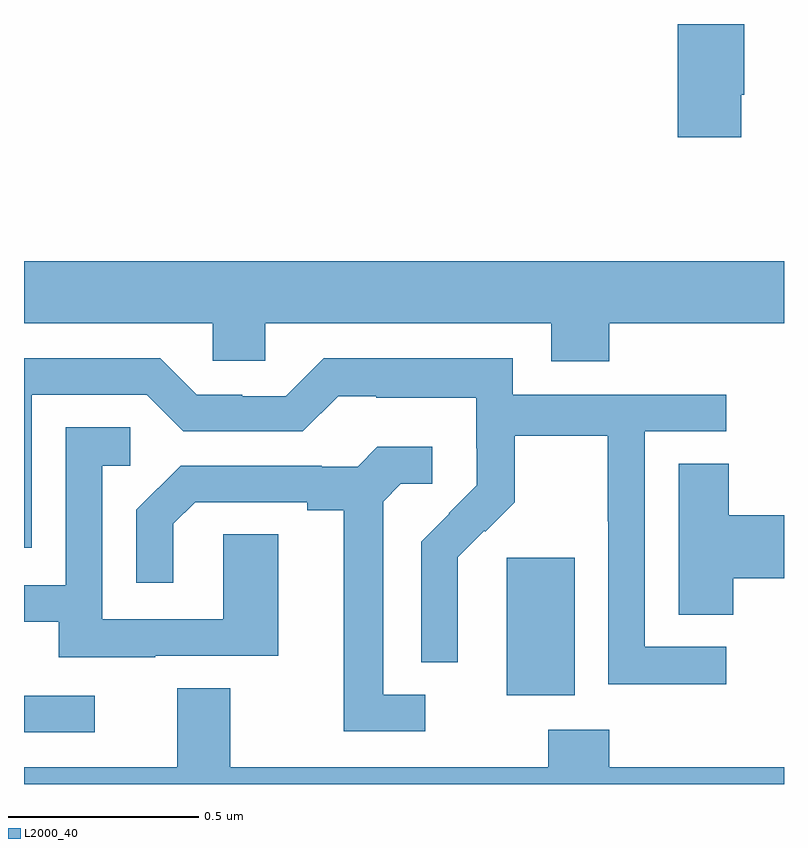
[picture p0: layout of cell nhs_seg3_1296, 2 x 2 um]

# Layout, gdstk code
import gdstk
lib = gdstk.Library(unit=1e-6, precision=1e-09)
def R(c, l, rs):  # rectangles x0, y0, x1, y1
    for r in rs: c.add(gdstk.rectangle(r[:2], r[2:], *l))
def P(c, l, *ps):  # polygons
    for p in ps: c.add(gdstk.Polygon(p, *l))
L2000_40 = (2000, 40)

nhs_seg3_1296 = lib.new_cell('nhs_seg3_1296')
R(nhs_seg3_1296, L2000_40, [(127,670.536,127.186,670.632), (128.27,670.634,128.449,670.995)])
P(nhs_seg3_1296, L2000_40, [(128.887,672.214),(128.895,672.214),(128.895,672.4),(128.72,672.4),(128.72,672.102),(128.887,672.102)],
  [(128.54,671.612),(129,671.612),(129,671.776),(127,671.776),(127,671.612),(127.497,671.612),(127.497,671.514),(127.635,671.514),(127.635,671.612),(128.387,671.612),(128.387,671.513),(128.54,671.513)],
  [(128.848,670.761),(128.634,670.761),(128.634,671.328),(128.848,671.328),(128.848,671.424),(128.286,671.424),(128.286,671.521),(127.789,671.521),(127.689,671.421),(127.574,671.421),(127.574,671.424),(127.455,671.424),(127.359,671.52),(127,671.52),(127,671.022),(127.02,671.022),(127.02,671.424),(127.323,671.424),(127.419,671.328),(127.734,671.328),(127.827,671.421),(127.927,671.421),(127.927,671.417),(128.19,671.417),(128.19,671.283),(128.192,671.283),(128.192,671.186),(128.118,671.112),(128.119,671.111),(128.046,671.038),(128.046,670.72),(128.142,670.72),(128.142,670.874),(128.141,670.874),(128.141,670.997),(128.211,671.067),(128.214,671.064),(128.291,671.141),(128.291,671.316),(128.536,671.316),(128.536,671.092),(128.538,671.092),(128.538,670.663),(128.848,670.663)],
  [(127.345,670.737),(127.669,670.737),(127.669,671.057),(127.524,671.057),(127.524,670.833),(127.206,670.833),(127.206,671.238),(127.279,671.238),(127.279,671.339),(127.11,671.339),(127.11,670.923),(127,670.923),(127,670.827),(127.091,670.827),(127.091,670.733),(127.345,670.733)],
  [(128.056,670.635),(127.945,670.635),(127.945,671.143),(127.992,671.19),(128.074,671.19),(128.074,671.287),(127.93,671.287),(127.878,671.235),(127.784,671.235),(127.784,671.238),(127.412,671.238),(127.296,671.122),(127.296,670.929),(127.393,670.929),(127.393,671.085),(127.45,671.142),(127.745,671.142),(127.745,671.12),(127.841,671.12),(127.841,670.539),(128.056,670.539)],
  [(128.867,670.942),(129,670.942),(129,671.107),(128.854,671.107),(128.854,671.243),(128.723,671.243),(128.723,670.846),(128.867,670.846)],
  [(129,670.444),(128.54,670.444),(128.54,670.543),(128.38,670.543),(128.38,670.444),(127.543,670.444),(127.543,670.652),(127.403,670.652),(127.403,670.444),(127,670.444),(127,670.4),(129,670.4)])

lib.write_gds('nhs_seg3_1296.gds')
